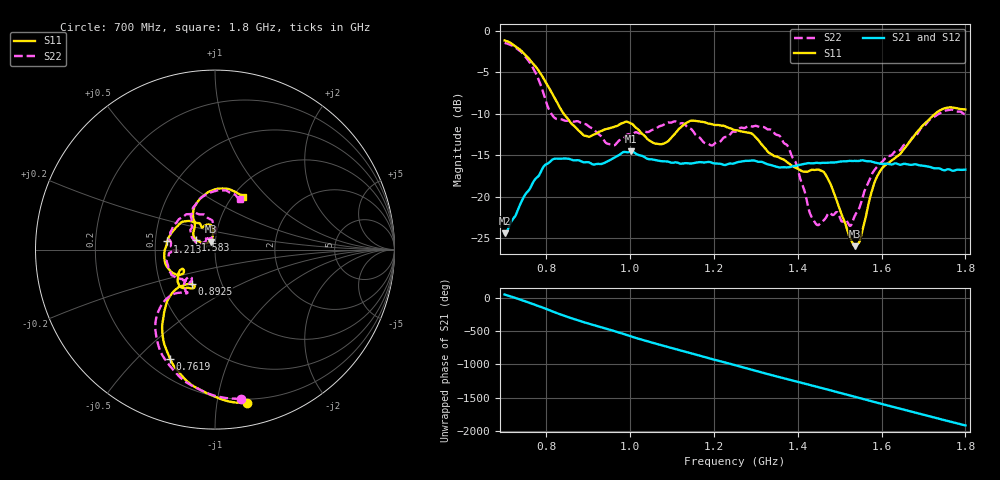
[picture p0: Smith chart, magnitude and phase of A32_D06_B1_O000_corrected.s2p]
! Created with skrf 1.9.0 (http://scikit-rf.org).
# Hz S RI R 50.0
!freq ReS11 ImS11 ReS21 ImS21 ReS12 ImS12 ReS22 ImS22
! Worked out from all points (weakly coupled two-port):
!   1601 points, 700 MHz to 1.8 GHz, reference 50 ohm
!   highest |S21| = -14.54 dB at 1.002 GHz (marker M1); lowest = -24.4 dB at 700.7 MHz (marker M2)
!   lowest |S11| = -25.9 dB at 1.536 GHz (marker M3), VSWR 1.11, Z = 47.5 + j4.24 ohm
!   |S11| at or under -10 dB: 841 MHz to 1.728 GHz (887 MHz wide, 69.1 % of centre)
!   |S22| runs from -23.5 to -1.5 dB; largest |S21 - S12| = 0.0035
!   S11 on the Smith chart (normalised r, x): 700 MHz: 0.17, -1.21; 761.9 MHz: 0.29, -0.63; 892.5 MHz: 0.72, -0.30; 1.213 GHz: 0.58, +0.06; 1.583 GHz: 0.80, +0.09; 1.8 GHz: 1.12, +0.74
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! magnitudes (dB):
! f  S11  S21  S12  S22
! 700 MHz  -1.2  -24.4  -24.2  -1.5
! 700.7 MHz  -1.2  -24.4  -24.1  -1.5
! 761.9 MHz  -3.6  -18.9  -18.8  -4.0
! 816.2 MHz  -7.8  -15.5  -15.5  -10.3
! 883.6 MHz  -12.3  -15.7  -15.6  -11.1
! 892.5 MHz  -12.7  -15.9  -15.9  -11.2
! 956.4 MHz  -11.7  -15.4  -15.4  -13.8
! 1.002 GHz  -11.2  -14.5  -14.6  -12.6
! 1.067 GHz  -13.6  -15.7  -15.6  -11.6
! 1.143 GHz  -10.9  -16.0  -16.0  -11.8
! 1.213 GHz  -11.4  -16.0  -16.0  -13.4
! 1.25 GHz  -12.0  -15.9  -15.9  -12.2
! 1.357 GHz  -15.3  -16.5  -16.4  -12.7
! 1.396 GHz  -16.5  -16.3  -16.2  -16.0
! 1.434 GHz  -16.7  -16.0  -15.9  -22.5
! 1.469 GHz  -17.5  -15.9  -15.9  -22.3
! 1.536 GHz  -25.9  -15.7  -15.7  -22.3
! 1.55 GHz  -25.0  -15.6  -15.6  -20.9
! 1.583 GHz  -18.3  -15.9  -15.9  -16.8
! 1.617 GHz  -15.9  -16.0  -16.0  -15.1
! 1.734 GHz  -9.8  -16.6  -16.6  -10.1
! 1.8 GHz  -9.5  -16.7  -16.7  -10.1
